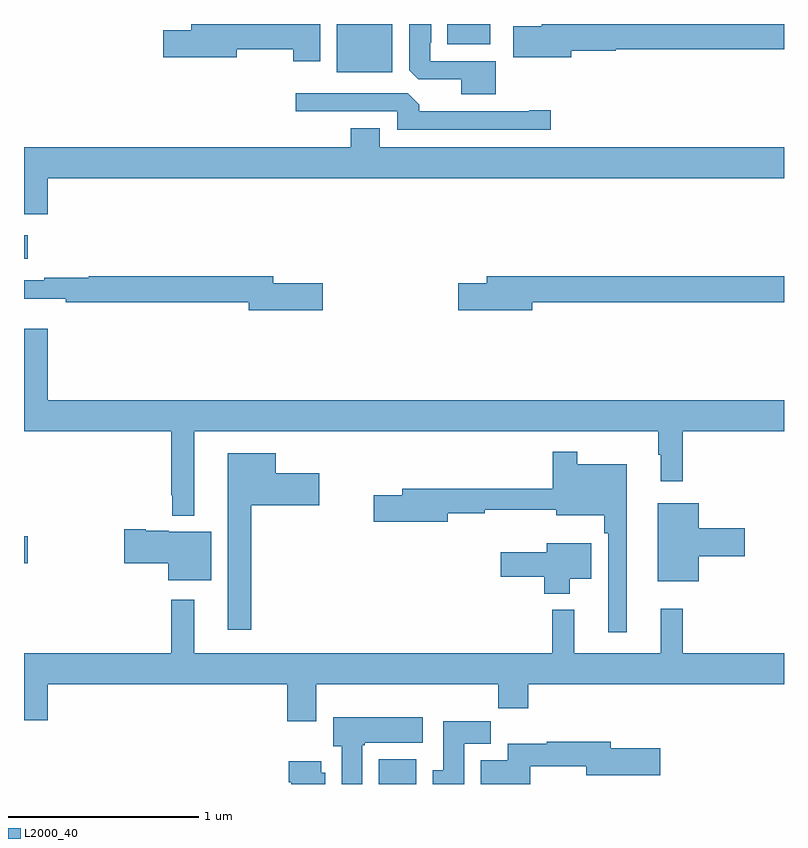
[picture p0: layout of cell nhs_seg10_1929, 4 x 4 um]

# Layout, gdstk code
import gdstk
lib = gdstk.Library(unit=1e-6, precision=1e-09)
def R(c, l, rs):  # rectangles x0, y0, x1, y1
    for r in rs: c.add(gdstk.rectangle(r[:2], r[2:], *l))
def P(c, l, *ps):  # polygons
    for p in ps: c.add(gdstk.Polygon(p, *l))
L2000_40 = (2000, 40)

nhs_seg10_1929 = lib.new_cell('nhs_seg10_1929')
R(nhs_seg10_1929, L2000_40, [(214.868,1258.5,215.065,1258.63), (213,1259.662,213.019,1259.804), (213,1261.265,213.019,1261.387), (214.646,1262.246,214.939,1262.5), (215.228,1262.393,215.455,1262.5)])
P(nhs_seg10_1929, L2000_40, [(215.881,1262.36),(216.114,1262.36),(216.114,1262.368),(217,1262.368),(217,1262.5),(215.726,1262.5),(215.726,1262.487),(215.574,1262.487),(215.574,1262.324),(215.881,1262.324)],
  [(215.483,1262.304),(215.139,1262.304),(215.139,1262.401),(215.143,1262.401),(215.143,1262.5),(215.027,1262.5),(215.027,1262.257),(215.076,1262.208),(215.3,1262.208),(215.3,1262.129),(215.483,1262.129)],
  [(214.558,1262.5),(213.881,1262.5),(213.881,1262.468),(213.732,1262.468),(213.732,1262.326),(214.12,1262.326),(214.12,1262.368),(214.417,1262.368),(214.417,1262.304),(214.558,1262.304)],
  [(215.773,1262.045),(215.66,1262.045),(215.66,1262.04),(215.081,1262.04),(215.081,1262.074),(215.019,1262.136),(214.431,1262.136),(214.431,1262.04),(214.965,1262.04),(214.965,1261.944),(215.773,1261.944)],
  [(213.124,1261.688),(217,1261.688),(217,1261.852),(214.873,1261.852),(214.873,1261.951),(214.721,1261.951),(214.721,1261.852),(213,1261.852),(213,1261.5),(213.124,1261.5)],
  [(214.573,1261.136),(214.312,1261.136),(214.312,1261.172),(213.34,1261.172),(213.34,1261.165),(213.106,1261.165),(213.106,1261.152),(213,1261.152),(213,1261.055),(213.22,1261.055),(213.22,1261.036),(214.184,1261.036),(214.184,1260.994),(214.573,1260.994)],
  [(215.674,1261.036),(217,1261.036),(217,1261.172),(215.435,1261.172),(215.435,1261.136),(215.286,1261.136),(215.286,1260.994),(215.674,1260.994)],
  [(213.895,1260.356),(216.339,1260.356),(216.339,1260.233),(216.35,1260.233),(216.35,1260.093),(216.467,1260.093),(216.467,1260.356),(217,1260.356),(217,1260.52),(213.124,1260.52),(213.124,1260.895),(213,1260.895),(213,1260.356),(213.774,1260.356),(213.774,1260.019),(213.781,1260.019),(213.781,1259.912),(213.895,1259.912)],
  [(216.172,1260.184),(215.911,1260.184),(215.911,1260.25),(215.782,1260.25),(215.782,1260.055),(214.991,1260.055),(214.991,1260.021),(214.842,1260.021),(214.842,1259.879),(215.23,1259.879),(215.23,1259.926),(215.426,1259.926),(215.426,1259.944),(215.801,1259.944),(215.801,1259.915),(216.055,1259.915),(216.055,1259.819),(216.075,1259.819),(216.075,1259.298),(216.172,1259.298)],
  [(214.195,1259.966),(214.555,1259.966),(214.555,1260.136),(214.324,1260.136),(214.324,1260.241),(214.073,1260.241),(214.073,1259.313),(214.195,1259.313)],
  [(216.55,1259.699),(216.793,1259.699),(216.793,1259.846),(216.55,1259.846),(216.55,1259.977),(216.335,1259.977),(216.335,1259.567),(216.55,1259.567)],
  [(213.985,1259.827),(213.762,1259.827),(213.762,1259.833),(213.64,1259.833),(213.64,1259.84),(213.528,1259.84),(213.528,1259.662),(213.758,1259.662),(213.758,1259.573),(213.985,1259.573)],
  [(215.872,1259.579),(215.986,1259.579),(215.986,1259.767),(215.75,1259.767),(215.75,1259.719),(215.508,1259.719),(215.508,1259.59),(215.738,1259.59),(215.738,1259.501),(215.872,1259.501)],
  [(214.537,1259.024),(215.497,1259.024),(215.497,1258.9),(215.654,1258.9),(215.654,1259.024),(217,1259.024),(217,1259.188),(216.467,1259.188),(216.467,1259.422),(216.35,1259.422),(216.35,1259.188),(215.897,1259.188),(215.897,1259.416),(215.779,1259.416),(215.779,1259.188),(213.895,1259.188),(213.895,1259.47),(213.774,1259.47),(213.774,1259.188),(213,1259.188),(213,1258.836),(213.124,1258.836),(213.124,1259.024),(214.385,1259.024),(214.385,1258.83),(214.537,1258.83)],
  [(214.78,1258.705),(214.794,1258.705),(214.794,1258.718),(215.098,1258.718),(215.098,1258.852),(214.628,1258.852),(214.628,1258.698),(214.673,1258.698),(214.673,1258.5),(214.78,1258.5)],
  [(215.317,1258.712),(215.456,1258.712),(215.456,1258.831),(215.207,1258.831),(215.207,1258.572),(215.15,1258.572),(215.15,1258.5),(215.317,1258.5)],
  [(215.664,1258.594),(215.96,1258.594),(215.96,1258.547),(216.349,1258.547),(216.349,1258.689),(216.088,1258.689),(216.088,1258.723),(215.752,1258.723),(215.752,1258.712),(215.546,1258.712),(215.546,1258.624),(215.405,1258.624),(215.405,1258.5),(215.664,1258.5)],
  [(214.585,1258.56),(214.564,1258.56),(214.564,1258.621),(214.394,1258.621),(214.394,1258.508),(214.406,1258.508),(214.406,1258.5),(214.585,1258.5)])

lib.write_gds('nhs_seg10_1929.gds')
